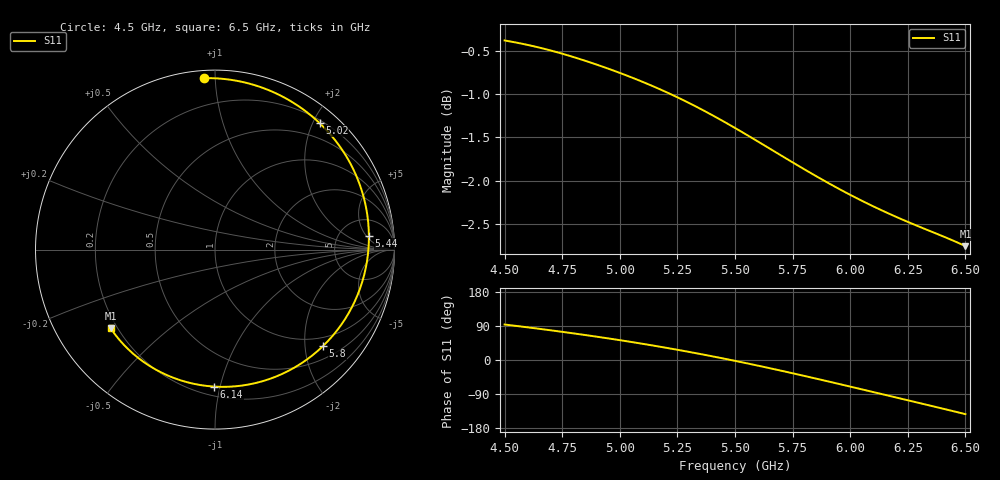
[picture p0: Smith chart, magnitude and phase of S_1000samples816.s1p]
! TOUCHSTONE file generated by CST MICROWAVE STUDIO
! Date and time: Sat Oct 29 12:00:01 2022
! Project name: L.cst
! Parameters = {Di=1.27; Epsilon_r=1.56; InnerDiameter=1.27; Length=2; Lf=10; Lg=60; OuterConductorThickness=0.2921; OuterDiameter=3.6; Wf=3; Wp=41.2; de=1.5; df=6.8; g=0.8; gx=4.47736; gy=3.2286; h=2.34; hf=1.524; px=11.3783; py=12.2095; w=9.7; wx=6.9009; wy=8.98088}
! Header version: 2018
! Port assignment regex: !\s*Touchstone port\s*([0-9]+)\s*=\s*(CST MWS port|CST DS port)\s*([0-9]+|Zmin|Zmax)\s*\(\"(.*)\"\)(\s*mode\s*([0-9]+))?.*
! Touchstone port assignment:
! Touchstone port 1 = CST MWS port 1 ("")
# GHz S DB R 50
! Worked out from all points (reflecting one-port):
!   101 points, 4.5 GHz to 6.5 GHz, reference 50 ohm
!   lowest |S11| = -2.8 dB at 6.5 GHz (marker M1), VSWR 6.36, Z = 8.73 - j16.3 ohm
!   phase of S11 starts at 94 deg and turns -237 deg over the sweep
!   S11 on the Smith chart (normalised r, x): 4.5 GHz: 0.04, +0.94; 5.02 GHz: 0.24, +2.10; 5.44 GHz: 10, +6; 5.8 GHz: 0.78, -2.40; 6.14 GHz: 0.26, -0.96; 6.5 GHz: 0.17, -0.33
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4.5  -0.38 93.6
4.64  -0.46 83.1
4.76  -0.54 73.5
4.88  -0.64 63.3
5  -0.76 52.3
5.02  -0.78 50.4
5.14  -0.91 38.6
5.26  -1.05 25.9
5.36  -1.18 14.6
5.44  -1.30 5.1
5.5  -1.39 -2.2
5.56  -1.49 -9.8
5.62  -1.58 -17.6
5.68  -1.68 -25.5
5.76  -1.80 -36.4
5.8  -1.87 -41.9
5.86  -1.96 -50.3
5.9  -2.02 -55.9
5.96  -2.11 -64.4
6  -2.16 -70.2
6.08  -2.27 -81.7
6.14  -2.35 -90.4
6.2  -2.42 -99.0
6.26  -2.49 -107.7
6.32  -2.55 -116.4
6.38  -2.62 -125.2
6.44  -2.68 -134.0
6.5  -2.76 -142.9
